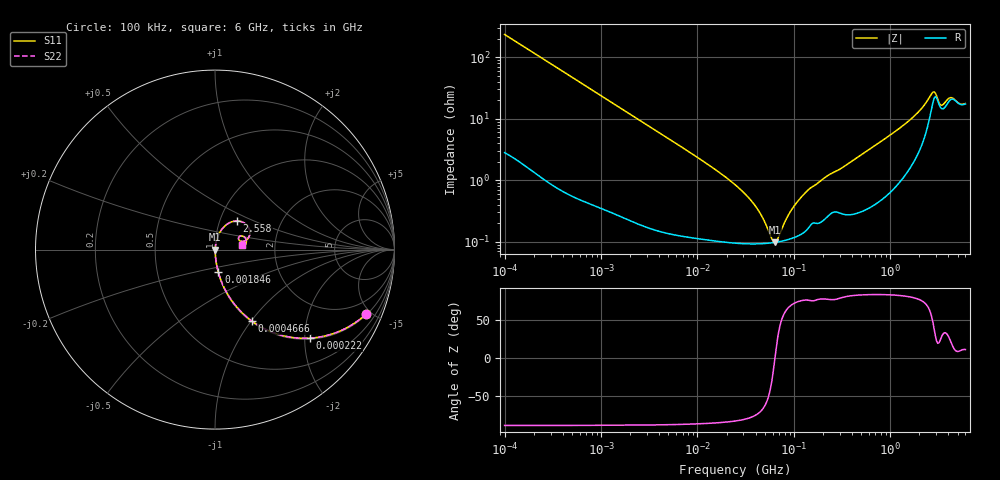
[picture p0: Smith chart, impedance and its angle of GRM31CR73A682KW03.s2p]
!Murata Part Number: GRM31CR73A682KW03
!These Parameters are Measured in Series Mode Connection
!Data Generated on Mar 30, 2021
!  o--ll--o
!Port1  Port2
!  o------o
!Operation Temp=25[degC], DC Bias Voltage=0[V]
!Freq. Start=100[kHz] Stop=6[GHz] 401[Steps]
# Hz S RI R 50
!Freq.(Hz) S11(Real) S11(Imag) S21(Real) S21(Imag) S12(Real) S12(Imag) S22(Real) S22(Imag)
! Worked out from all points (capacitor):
!   401 points, 100 kHz to 6 GHz, reference 50 ohm
!   read as one part in series: C = 6.81 nF near 105.7 kHz
!   lowest |Z| = 98.5 mohm at 64.15 MHz (marker M1)
!   series resonance near 63.57 MHz, so ESL is about 920 pH
!   S11 on the Smith chart (normalised r, x): 100 kHz: 1.06, -4.66; 222 kHz: 1.02, -2.11; 466.6 kHz: 1.01, -1.01; 1.846 MHz: 1.00, -0.26; 2.558 GHz: 1.21, +0.40; 6 GHz: 1.35, +0.07
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100000  0.8416 -0.3592  0.1584 0.3592  0.1584 0.3592  0.8416 -0.3592
222032  0.5275 -0.4936  0.4725 0.4936  0.4725 0.4936  0.5275 -0.4936
466596  0.206 -0.3987  0.794 0.3987  0.794 0.3987  0.206 -0.3987
631452  0.1256 -0.3253  0.8744 0.3253  0.8744 0.3253  0.1256 -0.3253
1845908  0.0185 -0.1261  0.9815 0.1261  0.9815 0.1261  0.0185 -0.1261
3987316  0.00503 -0.0594  0.995 0.0594  0.995 0.0594  0.00503 -0.0594
1.337449e7  0.00136 -0.0172  0.9986 0.0172  0.9986 0.0172  0.00136 -0.0172
2.517799e7  0.00101 -0.00812  0.999 0.00812  0.999 0.00812  0.00101 -0.00812
4.018763e7  0.000939 -0.00363  0.9991 0.00363  0.9991 0.00363  0.000939 -0.00363
4.739851e7  0.00094 -0.00228  0.9991 0.00228  0.9991 0.00228  0.00094 -0.00228
5.906466e7  0.000965 -0.000562  0.999 0.000562  0.999 0.000562  0.000965 -0.000562
6.414516e7  0.000982 6.93e-05  0.999 -6.93e-05  0.999 -6.93e-05  0.000982 6.93e-05
6.777267e7  0.000996 0.000491  0.999 -0.000491  0.999 -0.000491  0.000996 0.000491
9.690463e7  0.00116 0.00332  0.9988 -0.00332  0.9988 -0.00332  0.00116 0.00332
1.546735e8  0.00204 0.00754  0.998 -0.00754  0.998 -0.00754  0.00204 0.00754
9.76689e8  0.00885 0.052  0.9912 -0.052  0.9912 -0.052  0.00885 0.052
1.942633e9  0.0406 0.1162  0.9594 -0.1162  0.9594 -0.1162  0.0406 0.1162
2.55767e9  0.1231 0.1597  0.8769 -0.1597  0.8769 -0.1597  0.1231 0.1597
2.855131e9  0.1935 0.1089  0.8065 -0.1089  0.8065 -0.1089  0.1935 0.1089
3.367428e9  0.1321 0.056  0.8679 -0.056  0.8679 -0.056  0.1321 0.056
4.19625e9  0.1728 0.0578  0.8272 -0.0578  0.8272 -0.0578  0.1728 0.0578
6e9  0.1481 0.0243  0.8519 -0.0243  0.8519 -0.0243  0.1481 0.0243
